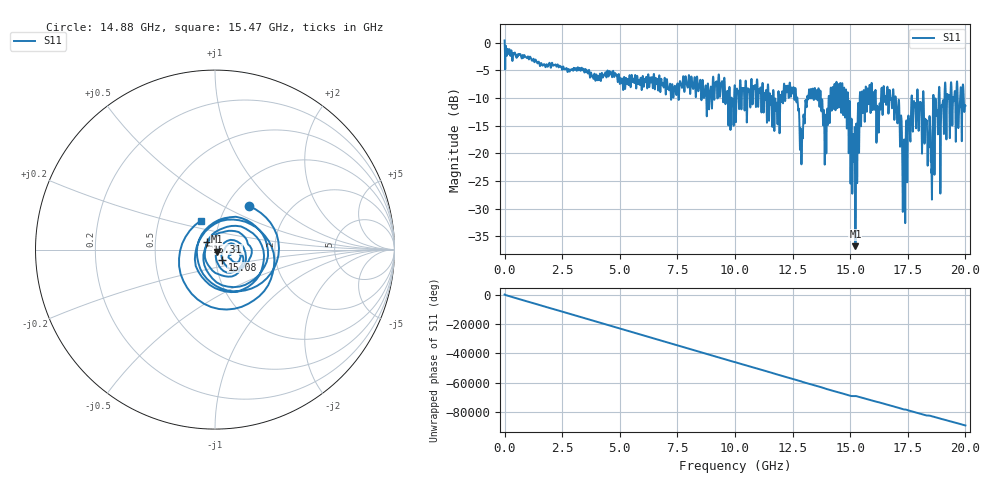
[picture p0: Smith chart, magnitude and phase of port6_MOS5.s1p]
! MS46122B
! 2250307/22442219
! 7/23/2025 7:57:44 AM
! C:\USERS\SPARKY\DOCUMENTS\VNA_DATA\JULY23_2025\3K\PORT6_MOS5.S1P
! CHANNEL.1
! TR.MEASUREMENT
! RAW.DATA
# GHZ S RI R 50.0
! FREQ.GHZ  S11RE  S11IM
!; PortSelection: Port_1
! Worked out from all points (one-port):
!   10001 points, 1 MHz to 20 GHz, reference 50 ohm
!   lowest |S11| = -36.8 dB at 15.23 GHz (marker M1), VSWR 1.03, Z = 50.8 - j1.2 ohm
!   |S11| at or under -10 dB: 12.71 GHz to 13.13 GHz (423.4 MHz wide, 3.28 % of centre); 14.91 GHz to 15.41 GHz (507.3 MHz wide, 3.35 % of centre); 16.98 GHz to 17.66 GHz (682.2 MHz wide, 3.94 % of centre) (the widest 3 of 86)
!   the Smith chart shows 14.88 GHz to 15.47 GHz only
!   S11 on the Smith chart (normalised r, x): 14.88 GHz: 1.26, +0.68; 15.08 GHz: 1.08, -0.12; 15.31 GHz: 0.91, +0.08; 15.47 GHz: 0.81, +0.27
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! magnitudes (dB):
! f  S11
! 1 MHz  0.4
! 2.501 GHz  -4.9
! 5.001 GHz  -7.4
! 7.501 GHz  -7.4
! 9.363 GHz  -8.8
! 10 GHz  -8.0
! 10.88 GHz  -8.5
! 11.78 GHz  -12.4
! 12.5 GHz  -9.2
! 12.89 GHz  -21.6
! 13.3 GHz  -8.4
! 13.7 GHz  -8.8
! 13.9 GHz  -19.0
! 14.32 GHz  -7.5
! 14.88 GHz  -10.2
! 15 GHz  -14.8
! 15.08 GHz  -23.2
! 15.23 GHz  -36.8
! 15.31 GHz  -24.2
! 15.47 GHz  -14.9
! 16.79 GHz  -10.5
! 17.15 GHz  -17.0
! 17.33 GHz  -19.0
! 17.5 GHz  -16.0
! 17.99 GHz  -14.0
! 18.46 GHz  -14.5
! 18.79 GHz  -12.9
! 20 GHz  -11.4
